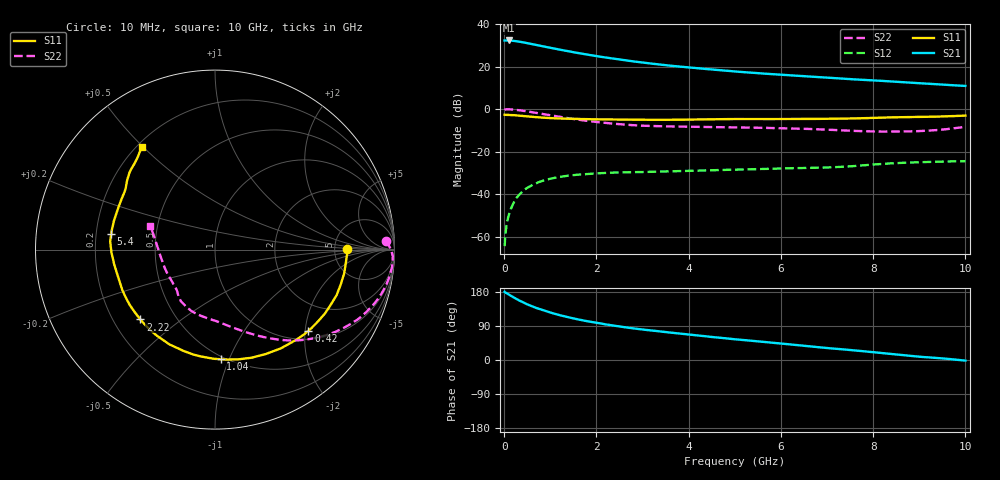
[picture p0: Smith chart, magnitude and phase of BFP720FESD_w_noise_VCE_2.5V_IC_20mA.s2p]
! Infineon Technologies  Discrete & RF Semiconductors
! BFP720FESD
! VCE =  2.5 V,  IC =  20 mA
! Common Emitter S-Parameters:  Jan 2016
# GHz  S  MA  R  50
!  f  S11  S21  S12  S22
! GHz  MAG  ANG  MAG  ANG  MAG  ANG  MAG  ANG
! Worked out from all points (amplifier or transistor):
!   233 points, 10 MHz to 10 GHz, reference 50 ohm
!   highest |S21| = 32.3 dB at 100 MHz (marker M1)
!   |S21| within 3 dB of that: start of sweep to 897.8 MHz
!   unconditionally stable (mu >= 1): 5.626 GHz to end of sweep
!   at 200 MHz: K = 0.08, MSG = 38.2 dB, |S12| = -44.3 dB
!   at 1.74 GHz: K = 0.44, MSG = 28.2 dB, |S12| = -30.6 dB
!   at 10 GHz: K = 1.17, MAG = 15.2 dB, |S12| = -24.5 dB
!   lowest NFmin = 0.95 dB at 450 MHz
!   S11 on the Smith chart (normalised r, x): 10 MHz: 6.57, +0.07; 420 MHz: 1.21, -2.08; 1.04 GHz: 0.48, -0.93; 2.22 GHz: 0.31, -0.36; 5.4 GHz: 0.26, +0.07; 10 GHz: 0.22, +0.50
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0.01  0.7357 0.2  41.1 179.9  0.0006 150.2  0.9562 3.0
0.02  0.7362 -2.0  41.1 178.4  0.0009 96.4  0.982 -0.2
0.1  0.7317 -10.5  41.14 173.0  0.0032 85.6  0.9915 -5.4
0.195  0.7238 -20.0  40.41 166.1  0.0059 80.3  0.9762 -11.0
0.26  0.7131 -26.3  39.49 161.4  0.008 77.2  0.9605 -14.6
0.36  0.698 -35.8  38.01 155.0  0.0106 72.8  0.9309 -19.7
0.42  0.6891 -41.0  36.98 151.5  0.0122 70.3  0.9112 -22.5
0.56  0.6658 -52.9  34.53 143.8  0.0154 64.8  0.8625 -28.6
0.7  0.6471 -64.0  32.21 137.2  0.0183 60.2  0.8148 -34.1
0.9  0.6252 -78.1  29.09 128.9  0.0217 54.3  0.7489 -41.0
1.04  0.6117 -87.0  27.12 123.9  0.0236 50.8  0.7049 -45.5
1.38  0.5923 -105.8  23.03 113.0  0.0272 43.8  0.6128 -54.9
1.68  0.5818 -118.9  20.17 105.2  0.0293 39.1  0.5496 -61.8
1.9  0.5769 -127.0  18.37 100.2  0.0305 36.6  0.5127 -66.5
2.22  0.5699 -136.9  16.23 93.7  0.0317 33.7  0.471 -72.6
2.8  0.564 -152.0  13.24 83.4  0.033 30.2  0.4188 -82.9
3.4  0.5607 -162.9  11.07 75.1  0.034 29.5  0.3961 -90.0
5.1  0.5853 174.5  7.532 53.7  0.0379 29.6  0.3707 -107.5
5.4  0.585 171.3  7.114 50.3  0.0387 29.7  0.367 -110.3
6.8  0.5894 153.7  5.668 34.0  0.042 31.4  0.3358 -126.1
8.4  0.6401 138.2  4.473 15.8  0.0532 33.3  0.2971 -153.9
10  0.7045 125.4  3.512 -1.6  0.0598 26.2  0.3825 160.0
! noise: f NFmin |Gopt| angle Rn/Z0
0.45  0.95  0.04  -26  0.11
2.4  0.98  0.01  142  0.12
5.5  1.11  0.17  145  0.11
10  1.56  0.29  -128  0.15
